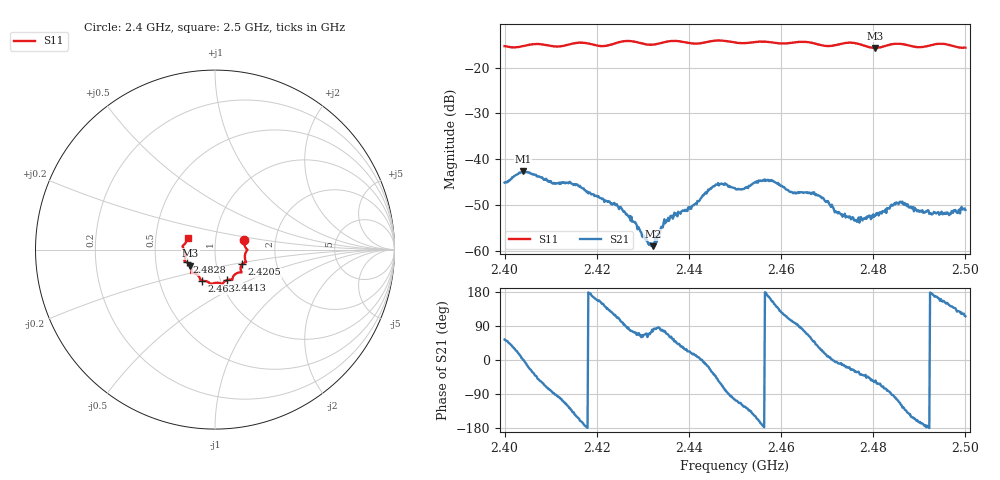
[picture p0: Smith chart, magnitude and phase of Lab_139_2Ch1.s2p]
# Hz S RI R 50
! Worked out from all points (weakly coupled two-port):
!   601 points, 2.4 GHz to 2.5 GHz, reference 50 ohm
!   highest |S21| = -42.64 dB at 2.404 GHz (marker M1); lowest = -59.0 dB at 2.4322 GHz (marker M2)
!   lowest |S11| = -15.7 dB at 2.4803 GHz (marker M3), VSWR 1.39, Z = 37.4 - j6.83 ohm
!   |S11| at or under -10 dB: start of sweep to end of sweep
!   S12 and S22 are empty: the file has one direction only
!   S11 on the Smith chart (normalised r, x): 2.4 GHz: 1.38, +0.15; 2.4205 GHz: 1.34, -0.22; 2.4413 GHz: 1.08, -0.38; 2.463 GHz: 0.82, -0.29; 2.4828 GHz: 0.72, -0.10; 2.5 GHz: 0.73, +0.10
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2.4e9  0.1629 0.0521  0.00327 0.00447  0 0  0 0
2.404e9  0.1711 0.0101  0.00738 6.42e-05  0 0  0 0
2.416667e9  0.1734 -0.0698  -0.00465 -0.00146  0 0  0 0
2.4205e9  0.152 -0.0809  -0.00352 0.00148  0 0  0 0
2.4255e9  0.1473 -0.1239  -0.000447 0.00279  0 0  0 0
2.431e9  0.1182 -0.1331  0.000621 0.0011  0 0  0 0
2.432167e9  0.1073 -0.1416  0.000277 0.00108  0 0  0 0
2.433333e9  0.1005 -0.1515  0.000111 0.00151  0 0  0 0
2.435e9  0.0977 -0.1639  0.000675 0.00194  0 0  0 0
2.441333e9  0.0675 -0.1694  0.00316 0.000695  0 0  0 0
2.445833e9  0.0421 -0.1923  0.00387 -0.00358  0 0  0 0
2.45e9  0.0248 -0.1859  -0.00121 -0.00465  0 0  0 0
2.456667e9  -0.0238 -0.1898  -0.00576 0.00021  0 0  0 0
2.463e9  -0.0721 -0.1737  -0.000562 0.00429  0 0  0 0
2.466667e9  -0.0818 -0.1674  0.00251 0.00347  0 0  0 0
2.476167e9  -0.1329 -0.1279  0.00188 -0.00108  0 0  0 0
2.480333e9  -0.1374 -0.0889  0.00131 -0.00207  0 0  0 0
2.482833e9  -0.1585 -0.0701  0.000595 -0.00251  0 0  0 0
2.483333e9  -0.1624 -0.0681  0.000384 -0.00288  0 0  0 0
2.485833e9  -0.1705 -0.0624  -0.00139 -0.00313  0 0  0 0
2.492667e9  -0.1761 0.00739  -0.00248 0.000191  0 0  0 0
2.5e9  -0.1521 0.0639  -0.00119 0.00252  0 0  0 0
